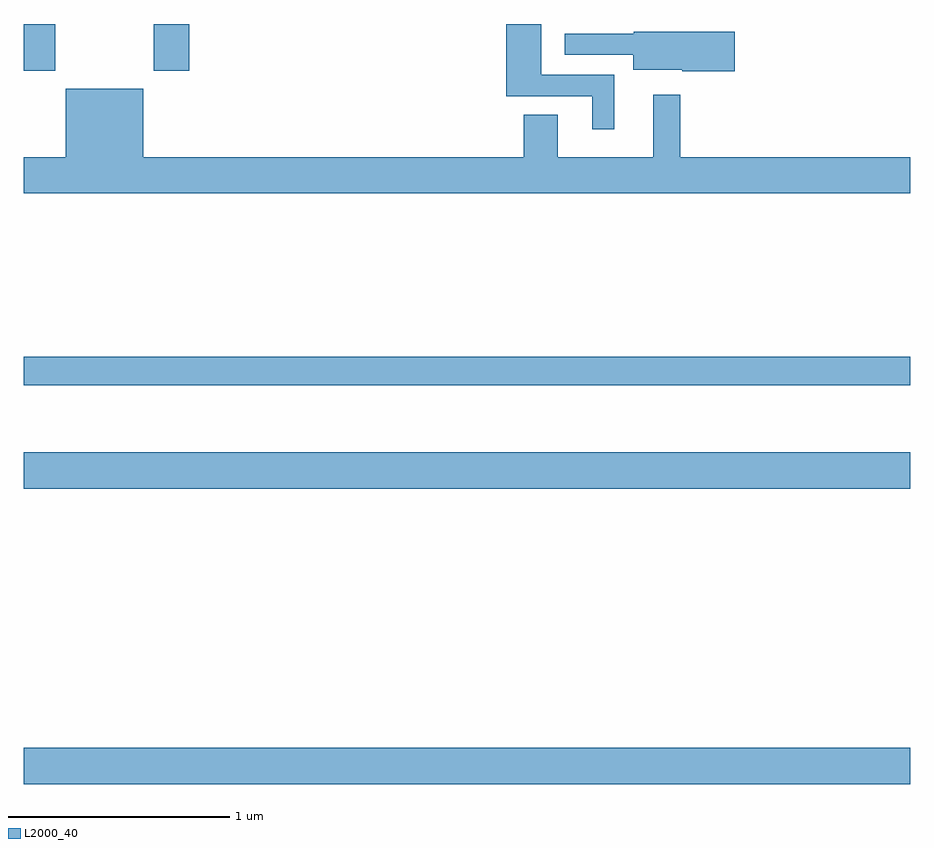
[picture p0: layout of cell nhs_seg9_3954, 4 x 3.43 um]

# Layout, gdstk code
import gdstk
lib = gdstk.Library(unit=1e-6, precision=1e-09)
def R(c, l, rs):  # rectangles x0, y0, x1, y1
    for r in rs: c.add(gdstk.rectangle(r[:2], r[2:], *l))
def P(c, l, *ps):  # polygons
    for p in ps: c.add(gdstk.Polygon(p, *l))
L2000_40 = (2000, 40)

nhs_seg9_3954 = lib.new_cell('nhs_seg9_3954')
R(nhs_seg9_3954, L2000_40, [(337,1211.072,341,1211.236), (337,1212.404,341,1212.568), (337,1212.87,341,1212.998), (337,1214.289,337.143,1214.5), (337.588,1214.289,337.748,1214.5)])
P(nhs_seg9_3954, L2000_40, [(339.664,1214.271),(339.334,1214.271),(339.334,1214.5),(339.176,1214.5),(339.176,1214.175),(339.566,1214.175),(339.566,1214.025),(339.664,1214.025)],
  [(340.207,1214.465),(339.753,1214.465),(339.753,1214.457),(339.441,1214.457),(339.441,1214.361),(339.749,1214.361),(339.749,1214.294),(339.972,1214.294),(339.972,1214.287),(340.207,1214.287)],
  [(341,1213.9),(339.961,1213.9),(339.961,1214.182),(339.839,1214.182),(339.839,1213.9),(339.409,1213.9),(339.409,1214.09),(339.257,1214.09),(339.257,1213.9),(337.54,1213.9),(337.54,1214.209),(337.19,1214.209),(337.19,1213.9),(337,1213.9),(337,1213.736),(341,1213.736)])

lib.write_gds('nhs_seg9_3954.gds')
